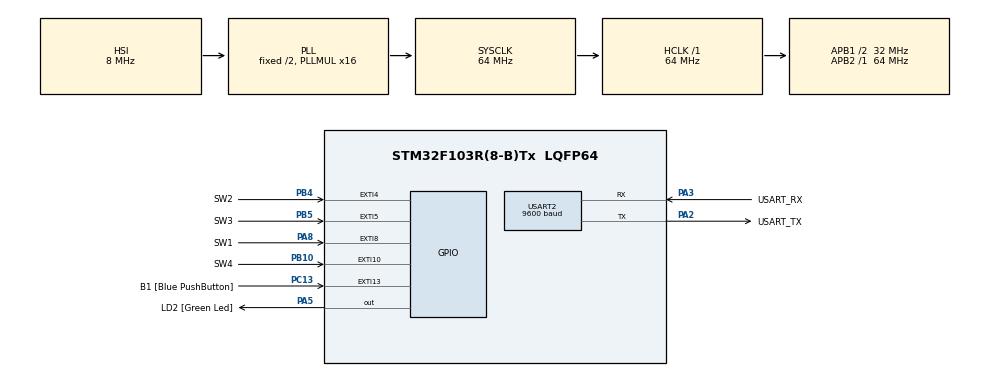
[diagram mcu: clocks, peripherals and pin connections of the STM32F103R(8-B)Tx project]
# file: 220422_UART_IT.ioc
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Mcu.Family=STM32F1
Mcu.Name=STM32F103R(8-B)Tx
Mcu.Package=LQFP64
NVIC.EXTI15_10_IRQn=true\:0\:0\:false\:false\:true\:true\:true\:true
NVIC.EXTI4_IRQn=true\:0\:0\:false\:false\:true\:true\:true\:true
NVIC.EXTI9_5_IRQn=true\:0\:0\:false\:false\:true\:true\:true\:true
NVIC.PriorityGroup=NVIC_PRIORITYGROUP_4
NVIC.USART2_IRQn=true\:0\:0\:false\:false\:true\:true\:true\:true
PA13.GPIO_Label=TMS
PA13.Mode=Serial_Wire
PA13.Signal=SYS_JTMS-SWDIO
PA14.GPIO_Label=TCK
PA14.Mode=Serial_Wire
PA14.Signal=SYS_JTCK-SWCLK
PA2.GPIO_Label=USART_TX
PA2.GPIO_Mode=GPIO_MODE_AF_PP
PA2.GPIO_PuPd=GPIO_NOPULL
PA2.GPIO_Speed=GPIO_SPEED_FREQ_LOW
PA2.Mode=Asynchronous
PA2.Signal=USART2_TX
PA3.GPIO_Label=USART_RX
PA3.GPIO_Mode=GPIO_MODE_AF_PP
PA3.GPIO_PuPd=GPIO_NOPULL
PA3.GPIO_Speed=GPIO_SPEED_FREQ_LOW
PA3.Mode=Asynchronous
PA3.Signal=USART2_RX
PA5.GPIO_Label=LD2 [Green Led]
PA5.GPIO_ModeDefaultOutputPP=GPIO_MODE_OUTPUT_PP
PA5.GPIO_PuPd=GPIO_NOPULL
PA5.GPIO_Speed=GPIO_SPEED_FREQ_LOW
PA5.Signal=GPIO_Output
PA8.GPIO_Label=SW1
PA8.GPIO_ModeDefaultEXTI=GPIO_MODE_IT_FALLING
PA8.GPIO_PuPd=GPIO_NOPULL
PA8.Signal=GPXTI8
PB10.GPIO_Label=SW4
PB10.GPIO_ModeDefaultEXTI=GPIO_MODE_IT_FALLING
PB10.GPIO_PuPd=GPIO_NOPULL
PB10.Signal=GPXTI10
PB3.GPIO_Label=SWO
PB3.Signal=SYS_JTDO-TRACESWO
PB4.GPIO_Label=SW2
PB4.GPIO_ModeDefaultEXTI=GPIO_MODE_IT_FALLING
PB4.GPIO_PuPd=GPIO_NOPULL
PB4.Signal=GPXTI4
PB5.GPIO_Label=SW3
PB5.GPIO_ModeDefaultEXTI=GPIO_MODE_IT_FALLING
PB5.GPIO_PuPd=GPIO_NOPULL
PB5.Signal=GPXTI5
PC13-TAMPER-RTC.GPIO_Label=B1 [Blue PushButton]
PC13-TAMPER-RTC.GPIO_PuPd=GPIO_NOPULL
PC13-TAMPER-RTC.Signal=GPXTI13
PC14-OSC32_IN.Mode=LSE-External-Oscillator
PC14-OSC32_IN.Signal=RCC_OSC32_IN
PC15-OSC32_OUT.Mode=LSE-External-Oscillator
PC15-OSC32_OUT.Signal=RCC_OSC32_OUT
PD0-OSC_IN.Mode=HSE-External-Clock-Source
PD0-OSC_IN.Signal=RCC_OSC_IN
PD1-OSC_OUT.Mode=HSE-External-Clock-Source
PD1-OSC_OUT.Signal=RCC_OSC_OUT
ProjectManager.HeapSize=0x200
ProjectManager.StackSize=0x400
ProjectManager.TargetToolchain=STM32CubeIDE
RCC.AHBFreq_Value=64000000
RCC.APB1CLKDivider=RCC_HCLK_DIV2
RCC.APB1Freq_Value=32000000
RCC.APB1TimFreq_Value=64000000
RCC.APB2Freq_Value=64000000
RCC.APB2TimFreq_Value=64000000
RCC.HCLKFreq_Value=64000000
RCC.PLLMUL=RCC_PLL_MUL16
RCC.RTCClockSelection=RCC_RTCCLKSOURCE_LSE
RCC.SYSCLKFreq_VALUE=64000000
RCC.SYSCLKSource=RCC_SYSCLKSOURCE_PLLCLK
RCC.USBFreq_Value=64000000
USART2.BaudRate=9600
USART2.VirtualMode=VM_ASYNC
board=NUCLEO-F103RB

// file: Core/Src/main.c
/* USER CODE BEGIN Header */
/**
 ******************************************************************************
 * @file           : main.c
 * @brief          : Main program body
 ******************************************************************************
 * @attention
 *
 * Copyright (c) 2022 STMicroelectronics.
 * All rights reserved.
 *
 * This software is licensed under terms that can be found in the LICENSE file
 * in the root directory of this software component.
 * If no LICENSE file comes with this software, it is provided AS-IS.
 *
 ******************************************************************************
 */
/* USER CODE END Header */
#include "main.h"

/* USER CODE BEGIN PD */
#define TxBufferSize (countof(TxBuffer)-1)
#define TxBufferSize_3 (countof(TxBuffer_3)-1)
#define RxBufferSize 0xFF
#define countof(a) (sizeof(a)/sizeof(*a))
/* USER CODE END PD */

UART_HandleTypeDef huart2;

/* USER CODE BEGIN PV */
uint8_t TxBuffer[] = "\n\rUART Example 4 (Transmission Success) !!\n\r\n\r";
uint8_t TxBuffer_3[] = "\n\r Message from HAL_UART_TxCpltCallback() !!\n\r\n\r";
uint8_t RxBuffer[RxBufferSize];
/* USER CODE END PV */

void SystemClock_Config(void);
static void MX_GPIO_Init(void);
static void MX_USART2_UART_Init(void);
/* USER CODE BEGIN PFP */
#ifdef __GNUC__
/* With GCC, small printf (option LD Linker->Libraries->Small printf
 set to 'Yes') calls __io_putchar() */
#define PUTCHAR_PROTOTYPE int __io_putchar(int ch)
#else
#define PUTCHAR_PROTOTYPE int fputc(int ch, FILE *f)
#endif /* __GNUC__ */
PUTCHAR_PROTOTYPE {
	/* Place your implementation of fputc here */
	/* e.g. write a character to the USART1 and Loop until the end of transmission */
	//HAL_UART_Transmit(&UartHandler, (uint8_t*) &ch, 1, 0xFFFF);

	return ch;
}
/* USER CODE END PFP */

int main(void) {

	/* MCU Configuration--------------------------------------------------------*/

	/* Reset of all peripherals, Initializes the Flash interface and the Systick. */
	HAL_Init();

	/* Configure the system clock */
	SystemClock_Config();

	/* Initialize all configured peripherals */
	MX_GPIO_Init();
	MX_USART2_UART_Init();
	/* USER CODE BEGIN 2 */
	HAL_UART_Transmit(&huart2, TxBuffer, TxBufferSize, 0xFFFF);
	/* USER CODE END 2 */

	/* Infinite loop */
	/* USER CODE BEGIN WHILE */
	while (1) {
		HAL_UART_Receive_IT(&huart2, RxBuffer, 1);
		/* USER CODE END WHILE */

	}
}

void SystemClock_Config(void) {
	RCC_OscInitTypeDef RCC_OscInitStruct = { 0 };
	RCC_ClkInitTypeDef RCC_ClkInitStruct = { 0 };

	/** Initializes the RCC Oscillators according to the specified parameters
	 * in the RCC_OscInitTypeDef structure.
	 */
	RCC_OscInitStruct.OscillatorType = RCC_OSCILLATORTYPE_HSI;
	RCC_OscInitStruct.HSIState = RCC_HSI_ON;
	RCC_OscInitStruct.HSICalibrationValue = RCC_HSICALIBRATION_DEFAULT;
	RCC_OscInitStruct.PLL.PLLState = RCC_PLL_ON;
	RCC_OscInitStruct.PLL.PLLSource = RCC_PLLSOURCE_HSI_DIV2;
	RCC_OscInitStruct.PLL.PLLMUL = RCC_PLL_MUL16;
	if (HAL_RCC_OscConfig(&RCC_OscInitStruct) != HAL_OK) {
		Error_Handler();
	}

	/** Initializes the CPU, AHB and APB buses clocks
	 */
	RCC_ClkInitStruct.ClockType = RCC_CLOCKTYPE_HCLK | RCC_CLOCKTYPE_SYSCLK
			| RCC_CLOCKTYPE_PCLK1 | RCC_CLOCKTYPE_PCLK2;
	RCC_ClkInitStruct.SYSCLKSource = RCC_SYSCLKSOURCE_PLLCLK;
	RCC_ClkInitStruct.AHBCLKDivider = RCC_SYSCLK_DIV1;
	RCC_ClkInitStruct.APB1CLKDivider = RCC_HCLK_DIV2;
	RCC_ClkInitStruct.APB2CLKDivider = RCC_HCLK_DIV1;

	if (HAL_RCC_ClockConfig(&RCC_ClkInitStruct, FLASH_LATENCY_2) != HAL_OK) {
		Error_Handler();
	}
}

static void MX_USART2_UART_Init(void) {

	huart2.Instance = USART2;
	huart2.Init.BaudRate = 9600;
	huart2.Init.WordLength = UART_WORDLENGTH_8B;
	huart2.Init.StopBits = UART_STOPBITS_1;
	huart2.Init.Parity = UART_PARITY_NONE;
	huart2.Init.Mode = UART_MODE_TX_RX;
	huart2.Init.HwFlowCtl = UART_HWCONTROL_NONE;
	huart2.Init.OverSampling = UART_OVERSAMPLING_16;
	if (HAL_UART_Init(&huart2) != HAL_OK) {
		Error_Handler();
	}

}

static void MX_GPIO_Init(void) {
	GPIO_InitTypeDef GPIO_InitStruct = { 0 };

	/* GPIO Ports Clock Enable */
	__HAL_RCC_GPIOC_CLK_ENABLE();
	__HAL_RCC_GPIOD_CLK_ENABLE();
	__HAL_RCC_GPIOA_CLK_ENABLE();
	__HAL_RCC_GPIOB_CLK_ENABLE();

	/*Configure GPIO pin Output Level */
	HAL_GPIO_WritePin(LD2_GPIO_Port, LD2_Pin, GPIO_PIN_RESET);

	/*Configure GPIO pin : B1_Pin */
	GPIO_InitStruct.Pin = B1_Pin;
	GPIO_InitStruct.Mode = GPIO_MODE_IT_RISING;
	GPIO_InitStruct.Pull = GPIO_NOPULL;
	HAL_GPIO_Init(B1_GPIO_Port, &GPIO_InitStruct);

	/*Configure GPIO pin : LD2_Pin */
	GPIO_InitStruct.Pin = LD2_Pin;
	GPIO_InitStruct.Mode = GPIO_MODE_OUTPUT_PP;
	GPIO_InitStruct.Pull = GPIO_NOPULL;
	GPIO_InitStruct.Speed = GPIO_SPEED_FREQ_LOW;
	HAL_GPIO_Init(LD2_GPIO_Port, &GPIO_InitStruct);

	/*Configure GPIO pins : SW4_Pin SW2_Pin SW3_Pin */
	GPIO_InitStruct.Pin = SW4_Pin | SW2_Pin | SW3_Pin;
	GPIO_InitStruct.Mode = GPIO_MODE_IT_FALLING;
	GPIO_InitStruct.Pull = GPIO_NOPULL;
	HAL_GPIO_Init(GPIOB, &GPIO_InitStruct);

	/*Configure GPIO pin : SW1_Pin */
	GPIO_InitStruct.Pin = SW1_Pin;
	GPIO_InitStruct.Mode = GPIO_MODE_IT_FALLING;
	GPIO_InitStruct.Pull = GPIO_NOPULL;
	HAL_GPIO_Init(SW1_GPIO_Port, &GPIO_InitStruct);

	/* EXTI interrupt init*/
	HAL_NVIC_SetPriority(EXTI4_IRQn, 0, 0);
	HAL_NVIC_EnableIRQ(EXTI4_IRQn);

	HAL_NVIC_SetPriority(EXTI9_5_IRQn, 0, 0);
	HAL_NVIC_EnableIRQ(EXTI9_5_IRQn);

	HAL_NVIC_SetPriority(EXTI15_10_IRQn, 0, 0);
	HAL_NVIC_EnableIRQ(EXTI15_10_IRQn);

}

/* USER CODE BEGIN 4 */
void HAL_UART_TxCpltCallback(UART_HandleTypeDef *huart) {
	HAL_UART_Transmit(&huart2, TxBuffer_3, TxBuffer_3, 0xFFFF);
}
void HAL_UART_RxCpltCallback(UART_HandleTypeDef *huart) {
	HAL_UART_Transmit_IT(&huart2, RxBuffer, 1);
}
/* USER CODE END 4 */

void Error_Handler(void) {
	__disable_irq();
	while (1) {
	}
}
